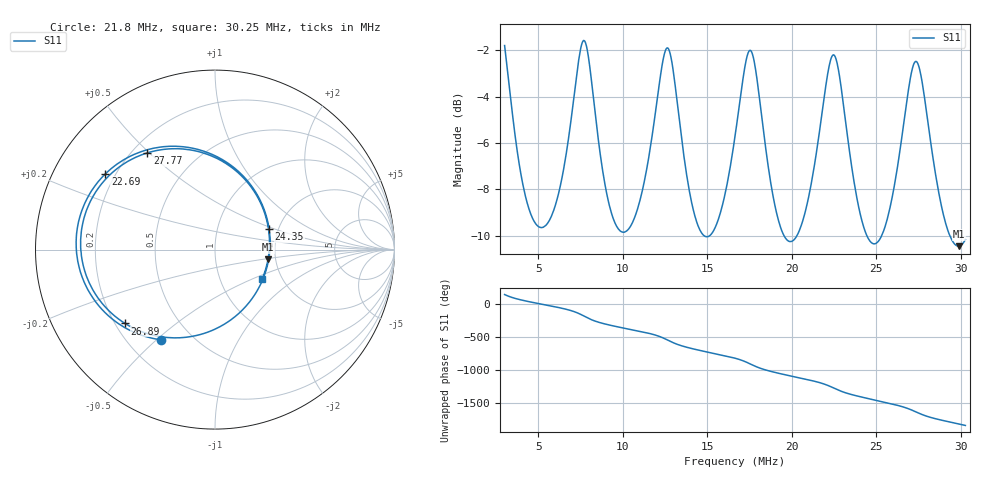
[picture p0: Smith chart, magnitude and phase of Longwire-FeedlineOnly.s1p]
# HZ S RI R 50
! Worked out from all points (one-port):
!   2727 points, 3 MHz to 30.27 MHz, reference 50 ohm
!   lowest |S11| = -10.4 dB at 29.87 MHz (marker M1), VSWR 1.86, Z = 91.1 - j10.8 ohm
!   |S11| at or under -10 dB: 19.54 MHz to 20.3 MHz (756.9 kHz wide, 3.8 % of centre); 24.44 MHz to 25.31 MHz (869.3 kHz wide, 3.49 % of centre); 29.35 MHz to end of sweep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
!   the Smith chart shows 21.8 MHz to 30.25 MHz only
!   S11 on the Smith chart (normalised r, x): 21.8 MHz: 0.34, -0.52; 22.69 MHz: 0.16, +0.30; 24.35 MHz: 1.79, +0.46; 26.89 MHz: 0.24, -0.34; 27.77 MHz: 0.26, +0.49; 30.25 MHz: 1.59, -0.57
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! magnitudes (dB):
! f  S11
! 3 MHz  -1.8
! 4.641 MHz  -9.2
! 6.411 MHz  -7.4
! 7.722 MHz  -1.6
! 8.982 MHz  -8.0
! 9.823 MHz  -9.8
! 11.03 MHz  -8.4
! 12.53 MHz  -2.0
! 13.23 MHz  -4.4
! 14.05 MHz  -8.5
! 14.85 MHz  -10.0
! 15.74 MHz  -9.1
! 16.64 MHz  -5.7
! 17.61 MHz  -2.1
! 19.04 MHz  -8.8
! 20.05 MHz  -10.2
! 21.8 MHz  -4.6
! 22.69 MHz  -2.6
! 23.46 MHz  -6.6
! 24.35 MHz  -9.8
! 25.54 MHz  -9.6
! 26.87 MHz  -3.9
! 26.89 MHz  -3.8
! 27.77 MHz  -3.6
! 28.9 MHz  -8.9
! 29.87 MHz  -10.4
! 30.25 MHz  -10.2
! 30.27 MHz  -10.2
